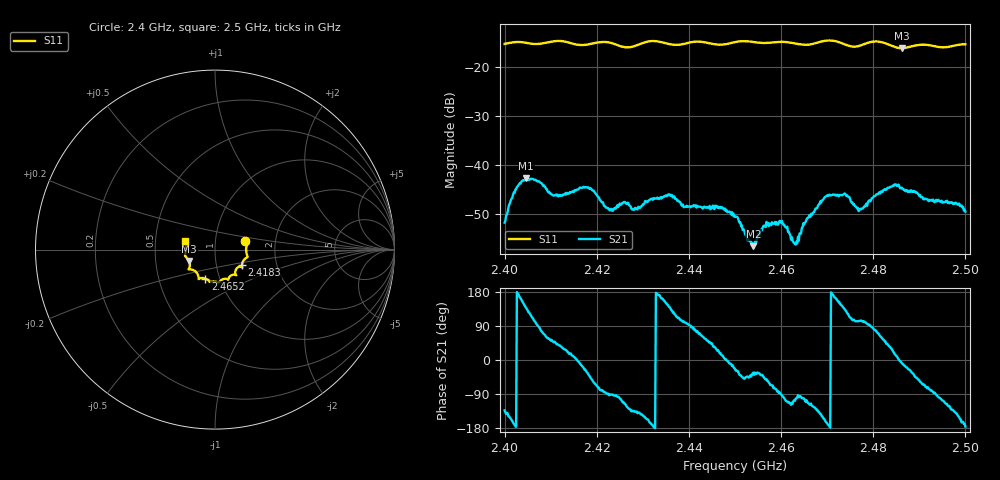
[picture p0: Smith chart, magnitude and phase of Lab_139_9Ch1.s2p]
# Hz S RI R 50
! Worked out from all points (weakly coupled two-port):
!   601 points, 2.4 GHz to 2.5 GHz, reference 50 ohm
!   highest |S21| = -42.65 dB at 2.4047 GHz (marker M1); lowest = -56.5 dB at 2.454 GHz (marker M2)
!   lowest |S11| = -16.1 dB at 2.4862 GHz (marker M3), VSWR 1.37, Z = 37.2 - j4.88 ohm
!   |S11| at or under -10 dB: start of sweep to end of sweep
!   S12 and S22 are empty: the file has one direction only
!   S11 on the Smith chart (normalised r, x): 2.4 GHz: 1.39, +0.13; 2.4183 GHz: 1.33, -0.24; 2.4652 GHz: 0.85, -0.28; 2.5 GHz: 0.71, +0.07
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2.4e9  0.1675 0.0466  -0.00178 -0.00191  0 0  0 0
2.402333e9  0.1776 0.0353  -0.00565 -0.000519  0 0  0 0
2.404667e9  0.1768 0.0218  -0.00544 0.00498  0 0  0 0
2.410833e9  0.1811 -0.0381  0.00329 0.00371  0 0  0 0
2.416667e9  0.1548 -0.068  0.00573 -0.0014  0 0  0 0
2.418333e9  0.1497 -0.0862  0.00439 -0.00382  0 0  0 0
2.423e9  0.1493 -0.0973  -8.81e-05 -0.0036  0 0  0 0
2.433333e9  0.1171 -0.1414  -0.00454 0.000687  0 0  0 0
2.435833e9  0.1021 -0.1393  -0.00384 0.00329  0 0  0 0
2.45e9  0.0256 -0.1795  0.00276 -0.00121  0 0  0 0
2.454e9  0.0141 -0.1812  0.00125 -0.000819  0 0  0 0
2.456667e9  -0.00602 -0.1775  0.00147 -0.00184  0 0  0 0
2.459833e9  -0.0264 -0.1807  7.81e-05 -0.0027  0 0  0 0
2.463e9  -0.036 -0.1717  -0.000486 -0.00152  0 0  0 0
2.465167e9  -0.0543 -0.1613  -0.000714 -0.0025  0 0  0 0
2.466667e9  -0.0707 -0.1578  -0.00157 -0.00268  0 0  0 0
2.47e9  -0.0912 -0.1643  -0.00482 -0.0011  0 0  0 0
2.474e9  -0.0949 -0.1421  -0.00336 0.0038  0 0  0 0
2.477333e9  -0.1247 -0.1124  -0.00089 0.00346  0 0  0 0
2.483333e9  -0.1414 -0.0969  0.00466 0.00363  0 0  0 0
2.486167e9  -0.1433 -0.064  0.00587 -0.0008  0 0  0 0
2.5e9  -0.1657 0.0476  -0.00337 -0.000257  0 0  0 0
